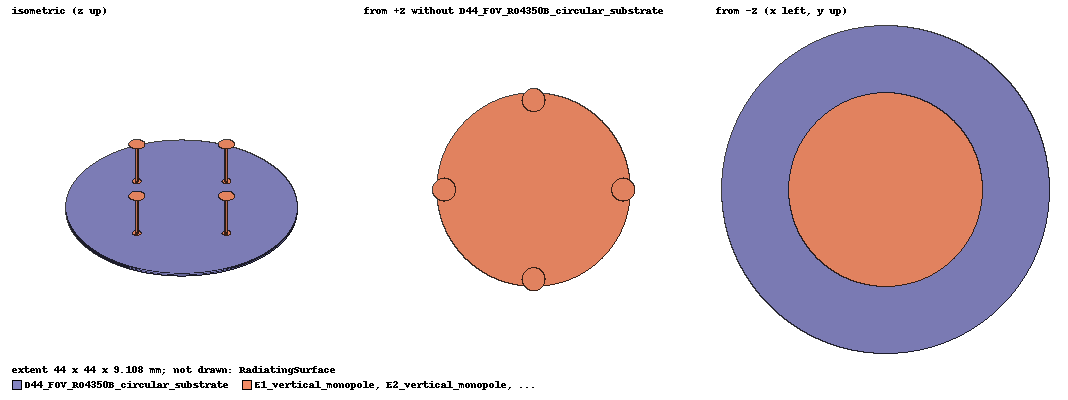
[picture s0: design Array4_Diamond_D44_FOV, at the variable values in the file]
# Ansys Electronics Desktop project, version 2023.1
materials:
  vacuum: permittivity=1
  RO4350B_custom_D44_FOV: permittivity=3.48 permeability=1 dielectric_loss_tangent=0.0037
  copper: permeability=0.999991 conductivity=58000000
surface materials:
  Steel-oxidised-surface

design Array4_Diamond_D44_FOV (HFSS, HFSS Modal Network, model units mm)
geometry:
  D44_FOV_RO4350B_circular_substrate [RO4350B_custom_D44_FOV] = cylinder(axis=Z, base_centre=(0mm, 0mm, 0mm), radius=22mm, height=0.508mm, segments=128)
  D44_FOV_bottom_ground [copper] = circle(normal=Z, centre=(0mm, 0mm, 0mm), radius=13mm, segments=128)
  E1_feed_pad [copper] = circle(normal=Z, centre=(12.020815mm, 0mm, 0.508mm), radius=0.85mm, segments=48)
  E1_vertical_monopole [copper] = cylinder(axis=Z, base_centre=(12.020815mm, 0mm, 0.508mm), radius=0.28mm, height=8.6mm, segments=24)
  E1_capacitive_hat [copper] = circle(normal=Z, centre=(12.020815mm, 0mm, 9.108mm), radius=1.55mm, segments=48)
  E1_lumped_port_sheet = polyline(x=12.020815mm, yz in mm: (-0.5, 0) (0.5, 0) (0.5, 0.508) (-0.5, 0.508) (-0.5, 0), closed, covered)
  E2_feed_pad [copper] = circle(normal=Z, centre=(7.3606265e-16mm, 12.020815mm, 0.508mm), radius=0.85mm, segments=48)
  E2_vertical_monopole [copper] = cylinder(axis=Z, base_centre=(7.3606265e-16mm, 12.020815mm, 0.508mm), radius=0.28mm, height=8.6mm, segments=24)
  E2_capacitive_hat [copper] = circle(normal=Z, centre=(7.3606265e-16mm, 12.020815mm, 9.108mm), radius=1.55mm, segments=48)
  E2_lumped_port_sheet = polyline(y=12.020815mm, xz in mm: (0.5, 0) (-0.5, 0) (-0.5, 0.508) (0.5, 0.508) (0.5, 0), closed, covered)
  E3_feed_pad [copper] = circle(normal=Z, centre=(-12.020815mm, 1.4721253e-15mm, 0.508mm), radius=0.85mm, segments=48)
  E3_vertical_monopole [copper] = cylinder(axis=Z, base_centre=(-12.020815mm, 1.4721253e-15mm, 0.508mm), radius=0.28mm, height=8.6mm, segments=24)
  E3_capacitive_hat [copper] = circle(normal=Z, centre=(-12.020815mm, 1.4721253e-15mm, 9.108mm), radius=1.55mm, segments=48)
  E3_lumped_port_sheet = polyline(x=-12.020815mm, yz in mm: (0.5, 0) (-0.5, 0) (-0.5, 0.508) (0.5, 0.508) (0.5, 0), closed, covered)
  E4_feed_pad [copper] = circle(normal=Z, centre=(-2.2081879e-15mm, -12.020815mm, 0.508mm), radius=0.85mm, segments=48)
  E4_vertical_monopole [copper] = cylinder(axis=Z, base_centre=(-2.2081879e-15mm, -12.020815mm, 0.508mm), radius=0.28mm, height=8.6mm, segments=24)
  E4_capacitive_hat [copper] = circle(normal=Z, centre=(-2.2081879e-15mm, -12.020815mm, 9.108mm), radius=1.55mm, segments=48)
  E4_lumped_port_sheet = polyline(y=-12.020815mm, xz in mm: (-0.5, 0) (0.5, 0) (0.5, 0.508) (-0.5, 0.508) (-0.5, 0), closed, covered)
  RadiatingSurface [vacuum] = region(absolute_offset=14.285714mm on all sides)
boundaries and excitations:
  D44_FOV_PEC_sheets: Perfect E Objects=[D44_FOV_bottom_ground, E1_feed_pad, E1_capacitive_hat, E2_feed_pad, E2_capacitive_hat, E3_feed_pad, E3_capacitive_hat, E4_feed_pad, E4_capacitive_hat]
  Open1: Radiation Objects=RadiatingSurface
  P1: Lumped Port Objects=E1_lumped_port_sheet LumpedPortType=Modal Modes{Mode1{IntLine{(12.020815, 0, 0.508) -> (12.020815, 0, 0)} CharImp=Zpi RenormImp=50ohm}} Impedance=50ohm
  P2: Lumped Port Objects=E2_lumped_port_sheet LumpedPortType=Modal Modes{Mode1{IntLine{(0, 12.020815, 0.508) -> (0, 12.020815, 0)} CharImp=Zpi RenormImp=50ohm}} Impedance=50ohm
  P3: Lumped Port Objects=E3_lumped_port_sheet LumpedPortType=Modal Modes{Mode1{IntLine{(-12.020815, 0, 0.508) -> (-12.020815, 0, 0)} CharImp=Zpi RenormImp=50ohm}} Impedance=50ohm
  P4: Lumped Port Objects=E4_lumped_port_sheet LumpedPortType=Modal Modes{Mode1{IntLine{(0, -12.020815, 0.508) -> (0, -12.020815, 0)} CharImp=Zpi RenormImp=50ohm}} Impedance=50ohm
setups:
  Setup_CH9: HfssDriven Frequency=8GHz MaxDeltaS=0.04 MaximumPasses=4 MinimumPasses=1 MinimumConvergedPasses=1 PercentRefinement=30 BasisOrder=1 PortAccuracy=2 DrivenSolverType="Direct Solver"
    sweep Sweep_CH9: 7.738GHz to 8.233GHz, 3 points; Type=Discrete SaveFields SaveRadFields
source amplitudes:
  P1:1: 1 0
  P2:1, P3:1, P4:1: 0 0
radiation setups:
  3D: Infinite Sphere Theta=0deg..180deg step 2deg Phi=-180deg..180deg step 2deg
  Elevation: Infinite Sphere Theta=-180deg..180deg step 1deg Phi=0deg..90deg step 90deg
  Azimuth: Infinite Sphere Theta=90deg..90deg step 0deg Phi=-180deg..180deg step 1deg
  Upper_Hemisphere_5deg: Infinite Sphere Theta=0deg..360deg step 5deg Phi=0deg..90deg step 5deg
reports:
  FOV_S_Parameters: dB(S(P1:1,P1:1)), dB(S(P4:1,P4:1)), dB(S(P2:1,P2:1)), dB(S(P3:1,P3:1)), dB(S(P1:1,P4:1)), dB(S(P1:1,P2:1)), dB(S(P1:1,P3:1)), dB(S(P4:1,P1:1)), dB(S(P4:1,P2:1)), dB(S(P4:1,P3:1)), dB(S(P2:1,P1:1)), dB(S(P2:1,P4:1)), dB(S(P2:1,P3:1)), dB(S(P3:1,P1:1)), dB(S(P3:1,P4:1)), dB(S(P3:1,P2:1)) vs Freq on Setup_CH9 : Sweep_CH9
  FOV_3D_GainTotal_8GHz: dB(GainTotal) vs Phi, Theta on Setup_CH9 : Sweep_CH9, Upper_Hemisphere_5deg [Freq=8GHz]
  FOV_3D_P1_GainTotal_7p9855GHz: dB(GainTotal) vs Phi, Theta on Setup_CH9 : Sweep_CH9, Upper_Hemisphere_5deg [Freq=7.9855GHz]
  FOV_Polar_P1_GainTotal_7p9855GHz: dB(GainTotal) vs Theta on Setup_CH9 : Sweep_CH9, Upper_Hemisphere_5deg [Phi=all Freq=7.9855GHz]
